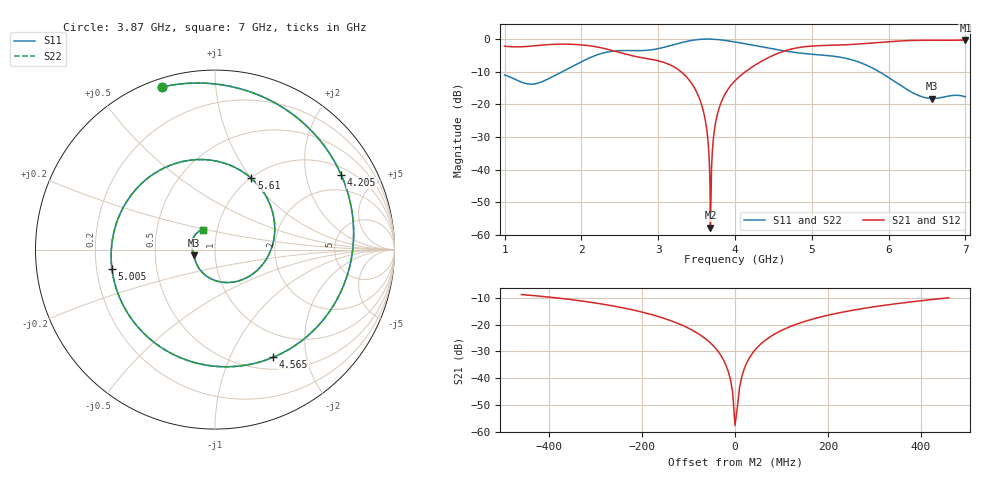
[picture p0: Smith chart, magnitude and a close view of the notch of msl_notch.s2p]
! CST export from run_msl_notch_cst.py (openEMS MSL notch reference)
! substrate RO4350B 3.66, 254 um; line 600 um; stub 12 mm; ports at x=+/-50 mm
# Hz S RI R 50
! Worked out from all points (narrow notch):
!   1201 points, 1 GHz to 7 GHz, reference 50 ohm
!   highest |S21| = -0.32 dB at 7 GHz (marker M1); lowest = -57.7 dB at 3.68 GHz (marker M2)
!   notch at M2: 55.4 dB deep, 77.1 MHz wide at half that depth
!   lowest |S11| = -18.2 dB at 6.57 GHz (marker M3), VSWR 1.28, Z = 39.3 - j2.62 ohm
!   |S11| at or under -10 dB: start of sweep to 1.752 GHz; 5.878 GHz to end of sweep
!   |S22| runs from -18.2 to 0.0 dB; largest |S21 - S12| = 0
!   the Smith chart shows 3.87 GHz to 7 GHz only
!   S11 on the Smith chart (normalised r, x): 3.87 GHz: 0.04, +0.73; 4.205 GHz: 1.28, +3.19; 4.565 GHz: 0.66, -1.47; 5.005 GHz: 0.26, -0.09; 5.61 GHz: 1.01, +1.00; 7 GHz: 0.85, +0.19
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1e9  0.00305 0.2819  -0.6536 0.4168  -0.6536 0.4168  0.00305 0.2819
1.34e9  0.1937 -0.0636  0.1465 0.7643  0.1465 0.7643  0.1937 -0.0636
1.635e9  -0.0561 -0.2631  0.8041 0.2025  0.8041 0.2025  -0.0561 -0.2631
2e9  -0.4387 -0.0949  0.257 -0.7723  0.257 -0.7723  -0.4387 -0.0949
2.285e9  -0.4523 0.4126  -0.5485 -0.4707  -0.5485 -0.4707  -0.4523 0.4126
2.53e9  0.0685 0.6623  -0.5879 0.1519  -0.5879 0.1519  0.0685 0.6623
3e9  0.6228 -0.3461  0.2107 0.4137  0.2107 0.4137  0.6228 -0.3461
3.32e9  -0.3767 -0.8079  0.2818 -0.1027  0.2818 -0.1027  -0.3767 -0.8079
3.57e9  -0.9924 0.00375  0.00336 -0.0944  0.00336 -0.0944  -0.9924 0.00375
3.68e9  -0.885 0.4583  -0.000469 -0.00121  -0.000469 -0.00121  -0.885 0.4583
3.87e9  -0.2929 0.9063  0.1386 0.0367  0.1386 0.0367  -0.2929 0.9063
4e9  0.1836 0.8831  0.2209 -0.0626  0.2209 -0.0626  0.1836 0.8831
4.205e9  0.7036 0.4153  0.1677 -0.3198  0.1677 -0.3198  0.7036 0.4153
4.565e9  0.3254 -0.5994  -0.5164 -0.3213  -0.5164 -0.3213  0.3254 -0.5994
5e9  -0.5729 -0.1175  -0.1866 0.7583  -0.1866 0.7583  -0.5729 -0.1175
5.005e9  -0.5744 -0.1063  -0.1709 0.7627  -0.1709 0.7627  -0.5744 -0.1063
5.34e9  -0.2681 0.462  0.7258 0.3553  0.7258 0.3553  -0.2681 0.462
5.61e9  0.2027 0.3969  0.7089 -0.4495  0.7089 -0.4495  0.2027 0.3969
6e9  0.226 -0.1234  -0.4166 -0.8077  -0.4166 -0.8077  0.226 -0.1234
6.285e9  -0.0414 -0.1517  -0.9488 0.0115  -0.9488 0.0115  -0.0414 -0.1517
6.57e9  -0.1185 -0.0328  -0.4207 0.8589  -0.4207 0.8589  -0.1185 -0.0328
7e9  -0.0696 0.1104  0.8872 0.3761  0.8872 0.3761  -0.0696 0.1104
